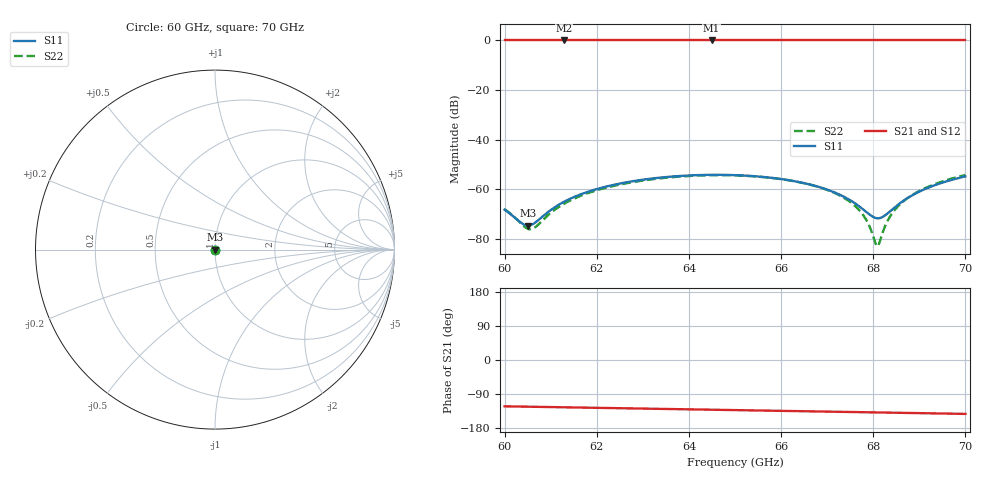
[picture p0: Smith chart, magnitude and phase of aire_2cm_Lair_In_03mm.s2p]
! TOUCHSTONE file generated by CST MICROWAVE STUDIO
! Date and time: Fri Mar  8 11:35:19 2024
! Project name: aire_def.cst
! Parameters = {d=9.15}
! Header version: 2018
! Port assignment regex: !\s*Touchstone port\s*([0-9]+)\s*=\s*(CST MWS port|CST DS port)\s*([0-9]+|Zmin|Zmax)\s*\(\"(.*)\"\)(\s*mode\s*([0-9]+))?.*
! Touchstone port assignment:
! Touchstone port 1 = CST MWS port 1 ("")
! Touchstone port 2 = CST MWS port 2 ("")
# GHz S MA R 376.7
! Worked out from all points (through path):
!   1001 points, 60 GHz to 70 GHz, reference 376.7 ohm
!   highest |S21| = 0.00 dB at 64.49 GHz (marker M1); lowest = 0.0 dB at 61.29 GHz (marker M2)
!   group delay of S21, straight-line fit = 5.56 ps
!   lowest |S11| = -74.7 dB at 60.51 GHz (marker M3), VSWR 1.00, Z = 377 - j0.119 ohm
!   |S11| at or under -10 dB: start of sweep to end of sweep
!   |S22| runs from -83.0 to -54.3 dB; largest |S21 - S12| = 0.00088
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60  0.0003852 -57.7  0.9998 -122.2  1 -122.2  0.0003962 -8.1
60.51  0.0001845 -120.9  0.9998 -123.2  1 -123.2  0.0001578 46.5
60.66  0.0002108 -150.1  0.9998 -123.5  1 -123.5  0.0001693 81.3
61.29  0.0005584 165.9  0.9997 -124.8  1 -124.8  0.0005093 128.0
61.67  0.0008 158.5  0.9997 -125.6  1 -125.5  0.0007476 132.7
62.41  0.001249 150.8  0.9998 -127.1  1 -127.0  0.001191 135.0
63.34  0.001699 145.0  0.9999 -128.9  1 -128.9  0.001642 134.4
64.49  0.00195 140.5  1 -131.3  1 -131.2  0.001913 132.2
65  0.001922 139.4  1 -132.3  1 -132.2  0.001897 131.3
65.91  0.001646 139.4  1 -134.1  0.9998 -134.1  0.001639 130.3
66.67  0.001215 142.4  1 -135.6  1 -135.6  0.001207 130.6
67.18  0.000847 148.2  1 -136.6  1 -136.6  0.0008234 132.1
67.56  0.0005531 158.8  1 -137.4  1 -137.4  0.0004999 135.5
67.8  0.0003786 174.4  1 -137.8  1 -137.9  0.0002843 141.9
68  0.0002752 -158.4  1 -138.2  1 -138.3  0.0001112 167.3
68.06  0.0002614 -146.8  1 -138.4  1 -138.4  7.615e-05 -163.6
68.16  0.0002642 -126.2  1 -138.6  1 -138.6  9.952e-05 -97.7
68.34  0.000342 -96.7  1 -138.9  1 -138.9  0.0002578 -68.0
68.58  0.0005213 -76.8  1 -139.4  1 -139.4  0.0004945 -60.0
68.92  0.0008209 -64.6  1 -140.1  1 -140.1  0.0008397 -56.0
69.4  0.001265 -56.7  1 -141.0  1 -141.1  0.001332 -53.4
70  0.001813 -51.3  1 -142.2  1 -142.3  0.001937 -51.2
